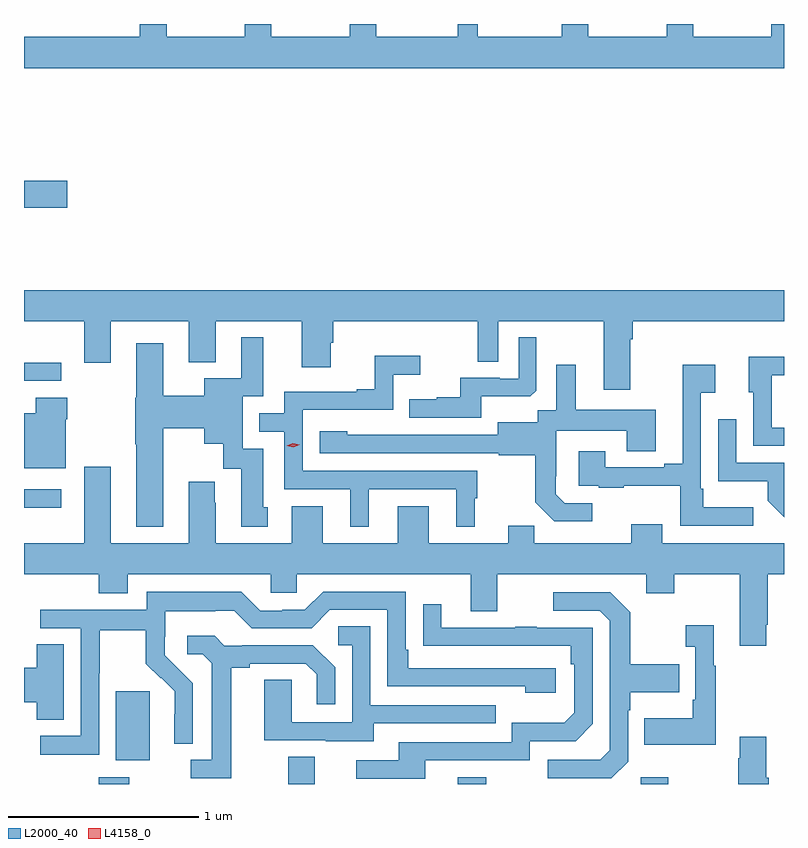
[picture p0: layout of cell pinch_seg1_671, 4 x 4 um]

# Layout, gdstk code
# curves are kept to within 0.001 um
import gdstk
lib = gdstk.Library(unit=1e-6, precision=1e-09)
def R(c, l, rs):  # rectangles x0, y0, x1, y1
    for r in rs: c.add(gdstk.rectangle(r[:2], r[2:], *l))
def P(c, l, *ps):  # polygons
    for p in ps: c.add(gdstk.Polygon(p, *l))
L2000_40 = (2000, 40)
L4158_0 = (4158, 0)

pinch_seg1_671 = lib.new_cell('pinch_seg1_671')
R(pinch_seg1_671, L2000_40, [(674.501,571.94,674.661,571.975), (675.497,571.94,675.637,572.084), (676.391,571.94,676.539,571.975), (677.352,571.94,677.499,571.975), (674.591,572.066,674.77,572.427), (674.107,573.395,674.302,573.492), (674.107,574.062,674.302,574.158), (674.107,574.972,674.335,575.114)])
P(pinch_seg1_671, L2000_40, [(678.107,575.94),(678.041,575.94),(678.041,575.872),(677.629,575.872),(677.629,575.94),(677.489,575.94),(677.489,575.872),(677.077,575.872),(677.077,575.94),(676.937,575.94),(676.937,575.872),(676.495,575.872),(676.495,575.94),(676.391,575.94),(676.391,575.872),(675.961,575.872),(675.961,575.94),(675.821,575.94),(675.821,575.872),(675.409,575.872),(675.409,575.94),(675.269,575.94),(675.269,575.872),(674.857,575.872),(674.857,575.94),(674.717,575.94),(674.717,575.872),(674.107,575.872),(674.107,575.708),(678.107,575.708)],
  [(677.299,574.28),(677.312,574.28),(677.312,574.376),(678.107,574.376),(678.107,574.54),(674.107,574.54),(674.107,574.376),(674.423,574.376),(674.423,574.158),(674.563,574.158),(674.563,574.376),(674.975,574.376),(674.975,574.16),(675.115,574.16),(675.115,574.376),(675.569,574.376),(675.569,574.134),(675.721,574.134),(675.721,574.263),(675.734,574.263),(675.734,574.376),(676.494,574.376),(676.494,574.162),(676.602,574.162),(676.602,574.376),(677.159,574.376),(677.159,574.014),(677.299,574.014)],
  [(674.839,573.812),(675.056,573.812),(675.056,573.731),(675.155,573.731),(675.155,573.6),(675.251,573.6),(675.251,573.294),(675.391,573.294),(675.391,573.396),(675.367,573.396),(675.367,573.705),(675.258,573.705),(675.258,573.981),(675.367,573.981),(675.367,574.291),(675.251,574.291),(675.251,574.075),(675.056,574.075),(675.056,573.984),(674.839,573.984),(674.839,574.261),(674.699,574.261),(674.699,573.972),(674.692,573.972),(674.692,573.728),(674.699,573.728),(674.699,573.293),(674.839,573.293)],
  [(676.513,573.98),(676.771,573.98),(676.803,574.011),(676.803,574.291),(676.71,574.291),(676.71,574.074),(676.61,574.074),(676.61,574.077),(676.403,574.077),(676.403,573.976),(676.279,573.976),(676.279,573.964),(676.135,573.964),(676.135,573.867),(676.513,573.867)],
  [(675.922,573.492),(676.382,573.492),(676.382,573.293),(676.48,573.293),(676.48,573.444),(676.492,573.444),(676.492,573.588),(675.573,573.588),(675.573,573.909),(676.05,573.909),(676.05,574.094),(676.192,574.094),(676.192,574.193),(675.952,574.193),(675.952,574.018),(675.857,574.018),(675.857,574.005),(675.477,574.005),(675.477,573.891),(675.344,573.891),(675.344,573.795),(675.477,573.795),(675.477,573.492),(675.824,573.492),(675.824,573.293),(675.922,573.293)],
  [(678.107,573.816),(678.042,573.816),(678.042,574.092),(678.107,574.092),(678.107,574.19),(677.921,574.19),(677.921,574.002),(677.946,574.002),(677.946,573.72),(678.107,573.72)],
  [(677.098,573.417),(676.953,573.417),(676.906,573.464),(676.906,573.559),(676.908,573.559),(676.908,573.8),(677.279,573.8),(677.279,573.691),(677.431,573.691),(677.431,573.91),(677.011,573.91),(677.011,574.147),(676.907,574.147),(676.907,573.908),(676.812,573.908),(676.812,573.844),(676.601,573.844),(676.601,573.777),(675.807,573.778),(675.807,573.796),(675.663,573.796),(675.663,573.681),(676.605,573.681),(676.605,573.669),(676.797,573.669),(676.797,573.423),(676.897,573.323),(677.098,573.323)],
  [(677.944,573.397),(677.683,573.397),(677.683,573.493),(677.67,573.493),(677.67,573.998),(677.746,573.998),(677.746,574.147),(677.573,574.147),(677.573,573.625),(677.477,573.625),(677.477,573.606),(677.167,573.606),(677.167,573.691),(677.027,573.691),(677.027,573.51),(677.131,573.51),(677.131,573.498),(677.263,573.498),(677.263,573.509),(677.562,573.509),(677.562,573.3),(677.944,573.3)],
  [(674.326,573.86),(674.334,573.86),(674.334,573.973),(674.168,573.973),(674.168,573.892),(674.107,573.892),(674.107,573.602),(674.326,573.602)],
  [(678.107,573.63),(677.856,573.63),(677.856,573.859),(677.76,573.859),(677.76,573.533),(678.022,573.533),(678.022,573.431),(678.107,573.345)],
  [(678.013,572.779),(678.021,572.779),(678.021,573.044),(678.107,573.044),(678.107,573.208),(677.467,573.208),(677.467,573.307),(677.303,573.307),(677.303,573.208),(676.793,573.208),(676.793,573.299),(676.655,573.299),(676.655,573.208),(676.237,573.208),(676.237,573.403),(676.073,573.403),(676.073,573.208),(675.679,573.208),(675.679,573.403),(675.515,573.403),(675.515,573.208),(675.115,573.208),(675.115,573.419),(675.112,573.419),(675.112,573.532),(674.975,573.532),(674.975,573.208),(674.563,573.208),(674.563,573.61),(674.423,573.61),(674.423,573.208),(674.107,573.208),(674.107,573.044),(674.501,573.044),(674.501,572.945),(674.653,572.945),(674.653,573.044),(675.405,573.044),(675.405,572.946),(675.543,572.946),(675.543,573.044),(676.457,573.044),(676.457,572.85),(676.597,572.85),(676.597,573.044),(677.381,573.044),(677.381,572.945),(677.529,572.945),(677.529,573.044),(677.873,573.044),(677.873,572.667),(678.013,572.667)],
  [(674.502,572.524),(674.505,572.524),(674.505,572.748),(674.749,572.748),(674.749,572.573),(674.826,572.496),(674.829,572.499),(674.9,572.429),(674.9,572.306),(674.898,572.306),(674.898,572.152),(674.994,572.152),(674.994,572.47),(674.848,572.618),(674.848,572.715),(674.85,572.715),(674.85,572.849),(675.113,572.849),(675.113,572.853),(675.213,572.853),(675.306,572.76),(675.621,572.76),(675.717,572.856),(676.02,572.856),(676.02,572.454),(676.745,572.454),(676.745,572.42),(676.906,572.42),(676.906,572.55),(676.129,572.55),(676.129,572.647),(676.116,572.647),(676.116,572.952),(675.681,572.952),(675.585,572.856),(675.467,572.856),(675.467,572.853),(675.351,572.853),(675.251,572.953),(674.754,572.953),(674.754,572.856),(674.193,572.856),(674.193,572.76),(674.406,572.76),(674.406,572.193),(674.193,572.193),(674.193,572.095),(674.502,572.095)],
  [(677.286,572.058),(677.286,572.327),(677.299,572.327),(677.299,572.423),(677.555,572.423),(677.555,572.571),(677.299,572.571),(677.299,572.843),(677.193,572.949),(676.893,572.949),(676.893,572.853),(677.136,572.853),(677.19,572.799),(677.19,572.118),(677.139,572.067),(676.863,572.067),(676.863,571.971),(677.199,571.971)],
  [(676.219,572.064),(676.77,572.064),(676.77,572.166),(677.01,572.166),(677.1,572.256),(677.1,572.763),(676.805,572.763),(676.805,572.768),(676.693,572.768),(676.693,572.763),(676.303,572.763),(676.303,572.887),(676.207,572.887),(676.207,572.668),(676.984,572.667),(676.984,572.57),(677.004,572.57),(677.004,572.316),(676.951,572.263),(676.674,572.263),(676.674,572.16),(676.079,572.16),(676.079,572.064),(675.855,572.064),(675.855,571.968),(676.219,571.968)],
  [(677.749,572.563),(677.737,572.563),(677.737,572.776),(677.589,572.776),(677.589,572.663),(677.64,572.663),(677.64,572.383),(677.628,572.383),(677.628,572.287),(677.371,572.287),(677.371,572.147),(677.749,572.147)],
  [(675.949,572.259),(676.589,572.259),(676.589,572.355),(675.93,572.355),(675.93,572.771),(675.762,572.771),(675.762,572.67),(675.834,572.67),(675.834,572.265),(675.516,572.265),(675.516,572.489),(675.371,572.489),(675.371,572.169),(675.695,572.169),(675.695,572.165),(675.949,572.165)],
  [(675.199,572.552),(675.295,572.552),(675.295,572.574),(675.59,572.574),(675.647,572.517),(675.647,572.361),(675.744,572.361),(675.744,572.554),(675.628,572.67),(675.256,572.67),(675.256,572.667),(675.162,572.667),(675.11,572.719),(674.967,572.719),(674.967,572.622),(675.048,572.622),(675.095,572.575),(675.095,572.067),(674.985,572.067),(674.985,571.971),(675.199,571.971)],
  [(674.317,572.675),(674.174,572.675),(674.174,572.552),(674.107,572.552),(674.107,572.369),(674.174,572.369),(674.174,572.278),(674.317,572.278)],
  [(678.026,571.972),(678.013,571.972),(678.013,572.188),(677.873,572.188),(677.873,572.075),(677.866,572.075),(677.866,571.94),(678.026,571.94)])
P(pinch_seg1_671, L4158_0, [(675.524,573.713),(675.489,573.721),(675.488,573.721),(675.489,573.721),(675.522,573.733),(675.557,573.726),(675.558,573.725),(675.557,573.725)])

lib.write_gds('pinch_seg1_671.gds')
